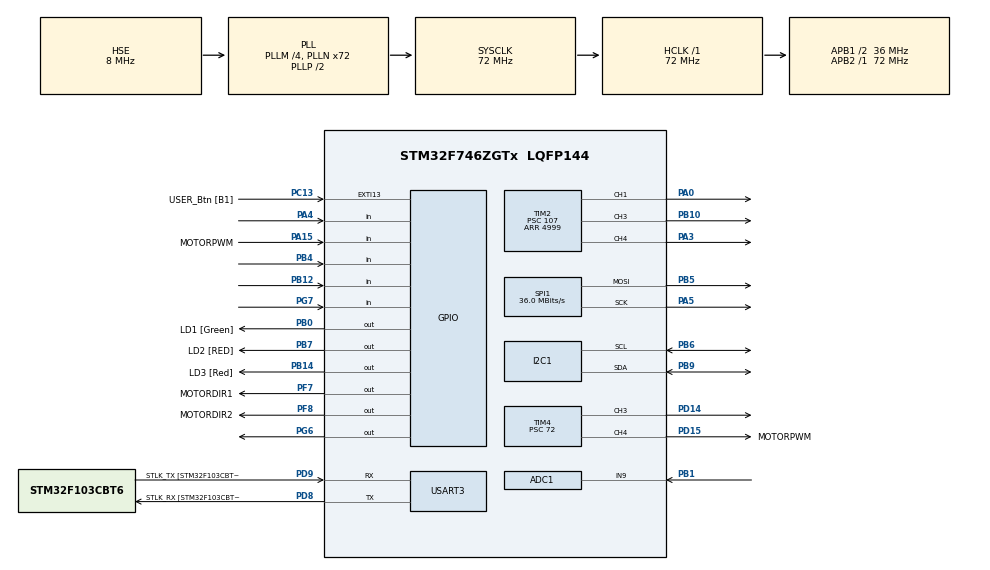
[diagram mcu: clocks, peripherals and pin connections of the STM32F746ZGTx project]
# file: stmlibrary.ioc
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ADC1.Channel-0\#ChannelRegularConversion=ADC_CHANNEL_9
ADC1.Channel-1\#ChannelInjectedConversion=ADC_CHANNEL_9
ADC1.DMAContinuousRequests=ENABLE
ADC1.InjNumberOfConversion=1
ADC1.InjectedOffset-1\#ChannelInjectedConversion=0
ADC1.InjectedRank-1\#ChannelInjectedConversion=1
ADC1.NbrOfConversion=1
ADC1.NbrOfConversionFlag=1
ADC1.Rank-0\#ChannelRegularConversion=1
ADC1.SamplingTime-0\#ChannelRegularConversion=ADC_SAMPLETIME_480CYCLES
ADC1.SamplingTime-1\#ChannelInjectedConversion=ADC_SAMPLETIME_3CYCLES
ADC1.master=1
Dma.ADC1.0.Direction=DMA_PERIPH_TO_MEMORY
Dma.ADC1.0.FIFOMode=DMA_FIFOMODE_DISABLE
Dma.ADC1.0.Instance=DMA2_Stream0
Dma.ADC1.0.MemDataAlignment=DMA_MDATAALIGN_HALFWORD
Dma.ADC1.0.MemInc=DMA_MINC_ENABLE
Dma.ADC1.0.Mode=DMA_NORMAL
Dma.ADC1.0.PeriphDataAlignment=DMA_PDATAALIGN_HALFWORD
Dma.ADC1.0.PeriphInc=DMA_PINC_DISABLE
Dma.ADC1.0.Priority=DMA_PRIORITY_LOW
Dma.Request0=ADC1
I2C1.Timing=0x00808CD2
Mcu.Family=STM32F7
Mcu.Name=STM32F746ZGTx
Mcu.Package=LQFP144
NVIC.ADC_IRQn=true\:0\:0\:false\:false\:true\:true\:true\:true
NVIC.DMA2_Stream0_IRQn=true\:0\:0\:false\:false\:true\:false\:true\:true
NVIC.PriorityGroup=NVIC_PRIORITYGROUP_4
PA0/WKUP.Signal=S_TIM2_CH1_ETR
PA1.GPIO_Label=RMII_REF_CLK [LAN8742A-CZ-TR_REFCLK0]
PA1.Signal=ETH_REF_CLK
PA10.GPIO_Label=USB_ID
PA10.Signal=USB_OTG_FS_ID
PA11.GPIO_Label=USB_DM
PA11.Signal=USB_OTG_FS_DM
PA12.GPIO_Label=USB_DP
PA12.Signal=USB_OTG_FS_DP
PA13.GPIO_Label=TMS
PA13.Mode=Serial_Wire
PA13.Signal=SYS_JTMS-SWDIO
PA14.GPIO_Label=TCK
PA14.Mode=Serial_Wire
PA14.Signal=SYS_JTCK-SWCLK
PA15.GPIO_Label=MOTORPWM
PA15.Signal=GPIO_Input
PA2.GPIO_Label=RMII_MDIO [LAN8742A-CZ-TR_MDIO]
PA2.Signal=ETH_MDIO
PA3.Signal=S_TIM2_CH4
PA4.Signal=GPIO_Input
PA5.Mode=TX_Only_Simplex_Unidirect_Master
PA5.Signal=SPI1_SCK
PA7.GPIO_Label=RMII_CRS_DV [LAN8742A-CZ-TR_CRS_DV]
PA7.Signal=ETH_CRS_DV
PA8.GPIO_Label=USB_SOF [TP1]
PA8.Signal=USB_OTG_FS_SOF
PA9.GPIO_Label=USB_VBUS
PA9.Signal=USB_OTG_FS_VBUS
PB0.GPIO_Label=LD1 [Green]
PB0.Signal=GPIO_Output
PB1.Signal=ADCx_IN9
PB10.Signal=S_TIM2_CH3
PB12.Signal=GPIO_Input
PB13.GPIO_Label=RMII_TXD1 [LAN8742A-CZ-TR_TXD1]
PB13.Signal=ETH_TXD1
PB14.GPIO_Label=LD3 [Red]
PB14.Signal=GPIO_Output
PB3.GPIO_Label=SW0
PB3.Signal=SYS_JTDO-SWO
PB4.Signal=GPIO_Input
PB5.Mode=TX_Only_Simplex_Unidirect_Master
PB5.Signal=SPI1_MOSI
PB6.Mode=I2C
PB6.Signal=I2C1_SCL
PB7.GPIO_Label=LD2 [RED]
PB7.Signal=GPIO_Output
PB9.Mode=I2C
PB9.Signal=I2C1_SDA
PC1.GPIO_Label=RMII_MDC [LAN8742A-CZ-TR_MDC]
PC1.Signal=ETH_MDC
PC13.GPIO_Label=USER_Btn [B1]
PC13.Signal=GPXTI13
PC14/OSC32_IN.Mode=LSE-External-Oscillator
PC14/OSC32_IN.Signal=RCC_OSC32_IN
PC15/OSC32_OUT.Mode=LSE-External-Oscillator
PC15/OSC32_OUT.Signal=RCC_OSC32_OUT
PC4.GPIO_Label=RMII_RXD0 [LAN8742A-CZ-TR_RXD0]
PC4.Signal=ETH_RXD0
PC5.GPIO_Label=RMII_RXD1 [LAN8742A-CZ-TR_RXD1]
PC5.Signal=ETH_RXD1
PD14.Signal=S_TIM4_CH3
PD15.GPIO_Label=MOTORPWM
PD15.GPIO_Speed=GPIO_SPEED_FREQ_VERY_HIGH
PD15.Signal=S_TIM4_CH4
PD8.GPIO_Label=STLK_RX [STM32F103CBT6_PA3]
PD8.Mode=Asynchronous
PD8.Signal=USART3_TX
PD9.GPIO_Label=STLK_TX [STM32F103CBT6_PA2]
PD9.Mode=Asynchronous
PD9.Signal=USART3_RX
PF7.GPIO_Label=MOTORDIR1
PF7.GPIO_Speed=GPIO_SPEED_FREQ_VERY_HIGH
PF7.Signal=GPIO_Output
PF8.GPIO_Label=MOTORDIR2
PF8.GPIO_Speed=GPIO_SPEED_FREQ_VERY_HIGH
PF8.Signal=GPIO_Output
PG11.GPIO_Label=RMII_TX_EN [LAN8742A-CZ-TR_TXEN]
PG11.Signal=ETH_TX_EN
PG13.GPIO_Label=RMII_TXD0 [LAN8742A-CZ-TR_TXD0]
PG13.Signal=ETH_TXD0
PG6.Signal=GPIO_Output
PG7.Signal=GPIO_Input
PH0/OSC_IN.GPIO_Label=MCO [STM32F103CBT6_PA8]
PH0/OSC_IN.Mode=HSE-External-Clock-Source
PH0/OSC_IN.Signal=RCC_OSC_IN
PH1/OSC_OUT.Mode=HSE-External-Clock-Source
PH1/OSC_OUT.Signal=RCC_OSC_OUT
ProjectManager.HeapSize=0x200
ProjectManager.StackSize=0x400
ProjectManager.TargetToolchain=STM32CubeIDE
RCC.48MHZClocksFreq_Value=24000000
RCC.AHBFreq_Value=72000000
RCC.APB1CLKDivider=RCC_HCLK_DIV2
RCC.APB1Freq_Value=36000000
RCC.APB1TimFreq_Value=72000000
RCC.APB2Freq_Value=72000000
RCC.APB2TimFreq_Value=72000000
RCC.CortexFreq_Value=72000000
RCC.HCLKFreq_Value=72000000
RCC.HSE_VALUE=8000000
RCC.HSI_VALUE=16000000
RCC.PLLM=4
RCC.PLLMUL=RCC_PLL_MUL9
RCC.PLLN=72
RCC.PLLQ=3
RCC.PLLSourceVirtual=RCC_PLLSOURCE_HSE
RCC.PRESCALERUSB=RCC_USBCLKSOURCE_PLL_DIV1_5
RCC.SYSCLKFreq_VALUE=72000000
RCC.SYSCLKSource=RCC_SYSCLKSOURCE_PLLCLK
RCC.SYSCLKSourceVirtual=RCC_SYSCLKSOURCE_PLLCLK
RCC.USBFreq_Value=48000000
RCC.VCOOutputFreq_Value=144000000
SH.ADCx_IN9.0=ADC1_IN9,IN9
SH.S_TIM2_CH1_ETR.0=TIM2_CH1,PWM Generation1 CH1
SH.S_TIM2_CH3.0=TIM2_CH3,PWM Generation3 CH3
SH.S_TIM2_CH4.0=TIM2_CH4,PWM Generation4 CH4
SH.S_TIM4_CH3.0=TIM4_CH3,PWM Generation3 CH3
SH.S_TIM4_CH4.0=TIM4_CH4,PWM Generation4 CH4
SPI1.CalculateBaudRate=36.0 MBits/s
SPI1.Direction=SPI_DIRECTION_2LINES
SPI1.Mode=SPI_MODE_MASTER
SPI1.VirtualType=VM_MASTER
TIM2.Channel-PWM\ Generation1\ CH1=TIM_CHANNEL_1
TIM2.Channel-PWM\ Generation3\ CH3=TIM_CHANNEL_3
TIM2.Channel-PWM\ Generation4\ CH4=TIM_CHANNEL_4
TIM2.Period=4999
TIM2.Prescaler=107
TIM4.Channel-PWM\ Generation3\ CH3=TIM_CHANNEL_3
TIM4.Channel-PWM\ Generation4\ CH4=TIM_CHANNEL_4
TIM4.ClockDivision=TIM_CLOCKDIVISION_DIV1
TIM4.OCFastMode_PWM-PWM\ Generation3\ CH3=TIM_OCFAST_DISABLE
TIM4.Period=999
TIM4.Prescaler=72
TIM4.Pulse-PWM\ Generation3\ CH3=990
TIM4.Pulse-PWM\ Generation4\ CH4=990
USART3.VirtualMode-Asynchronous=VM_ASYNC
VP_TIM2_VS_ClockSourceINT.Mode=Internal
VP_TIM4_VS_ClockSourceINT.Mode=Internal
board=NUCLEO-F746ZG

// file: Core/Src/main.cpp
/* USER CODE BEGIN Header */
/**
  ******************************************************************************
  * @file           : main.c
  * @brief          : Main program body
  ******************************************************************************
  * @attention
  *
  * Copyright (c) 2022 STMicroelectronics.
  * All rights reserved.
  *
  * This software is licensed under terms that can be found in the LICENSE file
  * in the root directory of this software component.
  * If no LICENSE file comes with this software, it is provided AS-IS.
  *
  ******************************************************************************
  */
/* USER CODE END Header */
#include "main.h"
#include "adc.h"
#include "dma.h"
#include "i2c.h"
#include "spi.h"
#include "tim.h"
#include "usart.h"
#include "gpio.h"

/* USER CODE BEGIN Includes */
#include "alt_main.h"
#include <iostream>
#include <string>
#include <string.h>
#include <sstream>
#include <cmath>
using namespace std;
/* USER CODE END Includes */

void SystemClock_Config(void);

/* USER CODE BEGIN 0 */
void UART_Transmit(UART_HandleTypeDef &huart, string message, bool newline = true, int timeout_ms = 1000)
{
	if (newline) message += "\r\n";
	HAL_UART_Transmit(&huart, (uint8_t*)message.c_str(), message.length(), timeout_ms);
}

void UART_Transmit(UART_HandleTypeDef &huart, int message, int msgSize = 50, bool newline = true, int timeout_ms = 1000)
{
	char ptr[msgSize] = {'\0'};
	int size = sprintf(ptr, "%d", (int)message);
	string mess = ptr;
	if (newline)
	{
		mess += "\r\n";
		size += 2;
	}
	HAL_UART_Transmit(&huart, (uint8_t*)mess.c_str(), size, timeout_ms);
}

void UART_Transmit(UART_HandleTypeDef &huart, bool message, int msgSize = 50, bool newline = true, int timeout_ms = 1000)
{
	char ptr[msgSize] = {'\0'};
	int size = sprintf(ptr, "%d", (int)message);
	string mess = ptr;
	if (newline)
	{
		mess += "\r\n";
		size += 2;
	}
	HAL_UART_Transmit(&huart, (uint8_t*)mess.c_str(), size, timeout_ms);
}

void UART_Transmit(UART_HandleTypeDef &huart, float message, int msgSize = 50, int precision = 2, bool newline = true, int timeout_ms = 1000)
{
	char ptr[msgSize] = {'\0'};
	int size = sprintf(ptr, "%d.%d", (int)message, (int)((pow(10.0f, precision))*message)%(int)pow(10, precision));
	string mess = ptr;
	if (newline)
	{
		mess += "\r\n";
		size += 2;
	}
	HAL_UART_Transmit(&huart, (uint8_t*)mess.c_str(), size, timeout_ms);
}

void Delay(int milli)
{
	HAL_Delay(milli);
}
////
class PWM
{
public:
	TIM_HandleTypeDef* handle_Time;
	uint32_t channel;
	float duty = 0.0f;

	PWM(TIM_HandleTypeDef *timerHandle, uint32_t channelNumber, float dutyPercentage, bool autoInit = true) : handle_Time(timerHandle)
	{
		if (duty < 0) duty = 0;
		else if (duty > 100) duty = 100;
		else duty = dutyPercentage/100.f;
		if (channelNumber == 1) channel = TIM_CHANNEL_1;
		else if (channelNumber == 2) channel = TIM_CHANNEL_2;
		else if (channelNumber == 3) channel = TIM_CHANNEL_3;
		else if (channelNumber == 4) channel = TIM_CHANNEL_4;
		setDuty(100);
	}
	PWM(TIM_HandleTypeDef *timerHandle, uint32_t channelNumber, bool autoInit = true) : handle_Time(timerHandle)
	{
		if (channelNumber == 1) channel = TIM_CHANNEL_1;
		else if (channelNumber == 2) channel = TIM_CHANNEL_2;
		else if (channelNumber == 3) channel = TIM_CHANNEL_3;
		else if (channelNumber == 4) channel = TIM_CHANNEL_4;
		setDuty(100);
	}
	PWM() {}

	void setDuty(float setDuty)
	{
		duty = setDuty/100.0f;
		unsigned int arr = __HAL_TIM_GET_AUTORELOAD(handle_Time);
		__HAL_TIM_SET_COMPARE(handle_Time, channel, arr * duty);
	}

	float getDuty()
	{
		return duty;
	}

	void init()
	{
		HAL_TIM_PWM_Start(handle_Time, channel);
	}

	void start()
	{
		HAL_TIM_PWM_Start(handle_Time, channel);
	}

	void stop()
	{
		HAL_TIM_PWM_Stop(handle_Time, channel);
	}

};

class Button
{
public:
	bool ledState = false;
	bool lastState = false;
	GPIO_TypeDef *gpio;
	uint16_t nr;
	PWM pwm;

	Button(GPIO_TypeDef *gp, uint16_t n, PWM &p) : gpio(gp), nr(n), pwm(p)
	{

	}
	Button() {}
	void work()
	{
		if(HAL_GPIO_ReadPin(gpio, nr) == 1 && HAL_GPIO_ReadPin(gpio, nr) != lastState)
		{
			if (ledState == 1)
			{
				ledState = 0;
				pwm.stop();
			}
			else
			{
				ledState = 1;
				pwm.start();
			}
		}
		lastState = HAL_GPIO_ReadPin(gpio, nr);
	}
};

#define SLAVE_ADDRESS_LCD 0x4E // change this according to ur setup

void lcd_send_cmd (char cmd)
{
  char data_u, data_l;
	uint8_t data_t[4];
	data_u = (cmd&0xf0);
	data_l = ((cmd<<4)&0xf0);
	data_t[0] = data_u|0x0C;  //en=1, rs=0
	data_t[1] = data_u|0x08;  //en=0, rs=0
	data_t[2] = data_l|0x0C;  //en=1, rs=0
	data_t[3] = data_l|0x08;  //en=0, rs=0
	HAL_I2C_Master_Transmit (&hi2c1, SLAVE_ADDRESS_LCD,(uint8_t *) data_t, 4, 100);
}

void lcd_send_data (char data)
{
	char data_u, data_l;
	uint8_t data_t[4];
	data_u = (data&0xf0);
	data_l = ((data<<4)&0xf0);
	data_t[0] = data_u|0x0D;  //en=1, rs=1
	data_t[1] = data_u|0x09;  //en=0, rs=1
	data_t[2] = data_l|0x0D;  //en=1, rs=1
	data_t[3] = data_l|0x09;  //en=0, rs=1
	HAL_I2C_Master_Transmit (&hi2c1, SLAVE_ADDRESS_LCD,(uint8_t *) data_t, 4, 100);
}

void lcd_init (void)
{
	// 4 bit initialisation
	HAL_Delay(50);  // wait for >40ms
	lcd_send_cmd (0x30);
	HAL_Delay(5);  // wait for >4.1ms
	lcd_send_cmd (0x30);
	HAL_Delay(1);  // wait for >100us
	lcd_send_cmd (0x30);
	HAL_Delay(10);
	lcd_send_cmd (0x20);  // 4bit mode
	HAL_Delay(10);

  // dislay initialisation
	lcd_send_cmd (0x28); // Function set --> DL=0 (4 bit mode), N = 1 (2 line display) F = 0 (5x8 characters)
	HAL_Delay(1);
	lcd_send_cmd (0x08); //Display on/off control --> D=0,C=0, B=0  ---> display off
	HAL_Delay(1);
	lcd_send_cmd (0x01);  // clear display
	HAL_Delay(1);
	HAL_Delay(1);
	lcd_send_cmd (0x06); //Entry mode set --> I/D = 1 (increment cursor) & S = 0 (no shift)
	HAL_Delay(1);
	lcd_send_cmd (0x0C); //Display on/off control --> D = 1, C and B = 0. (Cursor and blink, last two bits)
}

void lcd_send_string (char *str)
{
	while (*str) lcd_send_data (*str++);
}

void lcd_clear (void)
{
	lcd_send_cmd (0x80);
	for (int i=0; i<70; i++)
	{
		lcd_send_data (' ');
	}
}

void lcd_put_cur(int row, int col)
{
    switch (row)
    {
        case 0:
            col |= 0x80;
            break;
        case 1:
            col |= 0xC0;
            break;
    }

    lcd_send_cmd (col);
}

void str2char(string str, char msg[])
{
	for(int i = 0; i < str.length(); i++)
	{
		msg[i] = str[i];
	}
	msg[str.length()] = '\0';
}

void charTest()
{
	char e[16];
	char m[16];

	for(int i = 0; i < 256; i+=32)
	{
		for(int j = 0; j<16; j++)
		{
			e[j] = i+j;
			m[j] = i+16+j;
		}

		lcd_put_cur(0,0);
		lcd_send_string(e);
		lcd_put_cur(1,0);
		lcd_send_string(m);
		HAL_Delay(10000);
	}
}

/* USER CODE END 0 */

int main(void)
{

  /* MCU Configuration--------------------------------------------------------*/

  /* Reset of all peripherals, Initializes the Flash interface and the Systick. */
  HAL_Init();

  /* Configure the system clock */
  SystemClock_Config();

  /* Initialize all configured peripherals */
  MX_GPIO_Init();
  MX_USART3_UART_Init();
  MX_TIM2_Init();
  MX_DMA_Init();
  MX_ADC1_Init();
  MX_I2C1_Init();
  MX_TIM4_Init();
  MX_SPI1_Init();
  /* USER CODE BEGIN 2 */
//  PWM pwm_General(&htim2, 4, false);
//  PWM pwm_Front(&htim3, 1, false);
//  PWM pwm_Rear(&htim3, 2, false);
//  PWM pwm_Blink_Left(&htim3, 3, false);
//  PWM pwm_Blink_Right(&htim3, 4, false);
//
//  Button btn_General(GPIOA, GPIO_PIN_4, pwm_General);
//  Button btn_Front(GPIOB, GPIO_PIN_4, pwm_Front);
//  Button btn_Rear(GPIOB, GPIO_PIN_5, pwm_Rear);
//  Button btn_Blink_Left(GPIOA, GPIO_PIN_15, pwm_Blink_Left);
//  Button btn_Blink_Right(GPIOB, GPIO_PIN_12, pwm_Blink_Right);
  //float abc;
  lcd_init();
  //drawFace(0);
  HAL_ADC_Start(&hadc1);
  //PWM motor4(&htim4, 4, false);
  //PWM motor3(&htim4, 3, false);

  //motor.start();
  //motor.stop();
  //HAL_TIM_PWM_Stop(&htim4, TIM_CHANNEL_4);
//  DC_MOTOR_Init(DC_MOTOR1);
//  DC_MOTOR_Start(DC_MOTOR1, DIR_CW, 100);

  HAL_ADC
  /* USER CODE END 2 */

  /* Infinite loop */
  while (1)
  {

  }
}

void SystemClock_Config(void)
{
  RCC_OscInitTypeDef RCC_OscInitStruct = {0};
  RCC_ClkInitTypeDef RCC_ClkInitStruct = {0};

  /** Configure LSE Drive Capability
  */
  HAL_PWR_EnableBkUpAccess();

  /** Configure the main internal regulator output voltage
  */
  __HAL_RCC_PWR_CLK_ENABLE();
  __HAL_PWR_VOLTAGESCALING_CONFIG(PWR_REGULATOR_VOLTAGE_SCALE3);

  /** Initializes the RCC Oscillators according to the specified parameters
  * in the RCC_OscInitTypeDef structure.
  */
  RCC_OscInitStruct.OscillatorType = RCC_OSCILLATORTYPE_HSE;
  RCC_OscInitStruct.HSEState = RCC_HSE_BYPASS;
  RCC_OscInitStruct.PLL.PLLState = RCC_PLL_ON;
  RCC_OscInitStruct.PLL.PLLSource = RCC_PLLSOURCE_HSE;
  RCC_OscInitStruct.PLL.PLLM = 4;
  RCC_OscInitStruct.PLL.PLLN = 72;
  RCC_OscInitStruct.PLL.PLLP = RCC_PLLP_DIV2;
  RCC_OscInitStruct.PLL.PLLQ = 3;
  if (HAL_RCC_OscConfig(&RCC_OscInitStruct) != HAL_OK)
  {
    Error_Handler();
  }

  /** Initializes the CPU, AHB and APB buses clocks
  */
  RCC_ClkInitStruct.ClockType = RCC_CLOCKTYPE_HCLK|RCC_CLOCKTYPE_SYSCLK
                              |RCC_CLOCKTYPE_PCLK1|RCC_CLOCKTYPE_PCLK2;
  RCC_ClkInitStruct.SYSCLKSource = RCC_SYSCLKSOURCE_PLLCLK;
  RCC_ClkInitStruct.AHBCLKDivider = RCC_SYSCLK_DIV1;
  RCC_ClkInitStruct.APB1CLKDivider = RCC_HCLK_DIV2;
  RCC_ClkInitStruct.APB2CLKDivider = RCC_HCLK_DIV1;

  if (HAL_RCC_ClockConfig(&RCC_ClkInitStruct, FLASH_LATENCY_2) != HAL_OK)
  {
    Error_Handler();
  }
}

void Error_Handler(void)
{
  __disable_irq();
  while (1)
  {
  }
}
